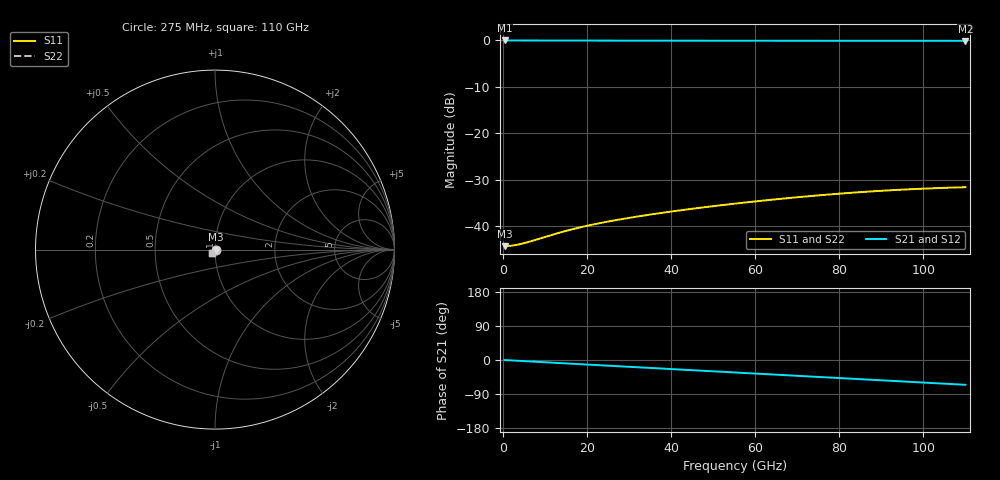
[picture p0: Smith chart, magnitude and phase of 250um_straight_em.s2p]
#  Hz  S  RI  R  50
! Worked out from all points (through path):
!   400 points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, 275 MHz to 110 GHz, reference 50 ohm
!   highest |S21| = -0.05 dB at 275 MHz (marker M1); lowest = -0.1 dB at 110 GHz (marker M2)
!   group delay of S21, straight-line fit = 1.65 ps
!   lowest |S11| = -44.3 dB at 275 MHz (marker M3), VSWR 1.01, Z = 50.6 + j0.000807 ohm
!   |S11| at or under -10 dB: start of sweep to end of sweep
!   |S22| runs from -44.3 to -31.6 dB; largest |S21 - S12| = 0
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2.75e8  0.00611 7.97e-06  0.9937 -0.00294  0.9937 -0.00294  0.00611 7.97e-06
1.375e9  0.00614 3.65e-05  0.9936 -0.0147  0.9936 -0.0147  0.00614 3.65e-05
2.475e9  0.00623 5.2e-05  0.9932 -0.0264  0.9932 -0.0264  0.00623 5.2e-05
3.575e9  0.00636 4.5e-05  0.9927 -0.0382  0.9927 -0.0382  0.00636 4.5e-05
4.675e9  0.00654 7.16e-06  0.9921 -0.0499  0.9921 -0.0499  0.00654 7.16e-06
6.6e9  0.00691 -0.000151  0.9905 -0.0702  0.9905 -0.0702  0.00691 -0.000151
1.1e10  0.00789 -0.001  0.9852 -0.1161  0.9852 -0.1161  0.00789 -0.001
1.3475e10  0.00838 -0.00176  0.9812 -0.1416  0.9812 -0.1416  0.00838 -0.00176
1.595e10  0.00878 -0.00266  0.9767 -0.1668  0.9767 -0.1668  0.00878 -0.00266
1.87e10  0.00908 -0.00378  0.971 -0.1945  0.971 -0.1945  0.00908 -0.00378
2.255e10  0.00923 -0.00544  0.9618 -0.233  0.9618 -0.233  0.00923 -0.00544
2.6675e10  0.00907 -0.00726  0.9504 -0.2736  0.9504 -0.2736  0.00907 -0.00726
3.135e10  0.00857 -0.00925  0.9355 -0.3191  0.9355 -0.3191  0.00857 -0.00925
3.685e10  0.00763 -0.0114  0.9154 -0.3716  0.9154 -0.3716  0.00763 -0.0114
4.5925e10  0.00551 -0.0146  0.8759 -0.4555  0.8759 -0.4555  0.00551 -0.0146
5.5275e10  0.00277 -0.0173  0.8273 -0.5377  0.8273 -0.5377  0.00277 -0.0173
6.435e10  -0.000291 -0.0194  0.7728 -0.6126  0.7728 -0.6126  -0.000291 -0.0194
7.3425e10  -0.00367 -0.0209  0.7115 -0.6819  0.7115 -0.6819  -0.00367 -0.0209
8.2775e10  -0.00741 -0.0217  0.6419 -0.747  0.6419 -0.747  -0.00741 -0.0217
9.185e10  -0.0111 -0.0217  0.5689 -0.8034  0.5689 -0.8034  -0.0111 -0.0217
1.00925e11  -0.0146 -0.0209  0.4912 -0.8529  0.4912 -0.8529  -0.0146 -0.0209
1.1e11  -0.0177 -0.0195  0.4089 -0.895  0.4089 -0.895  -0.0177 -0.0195
